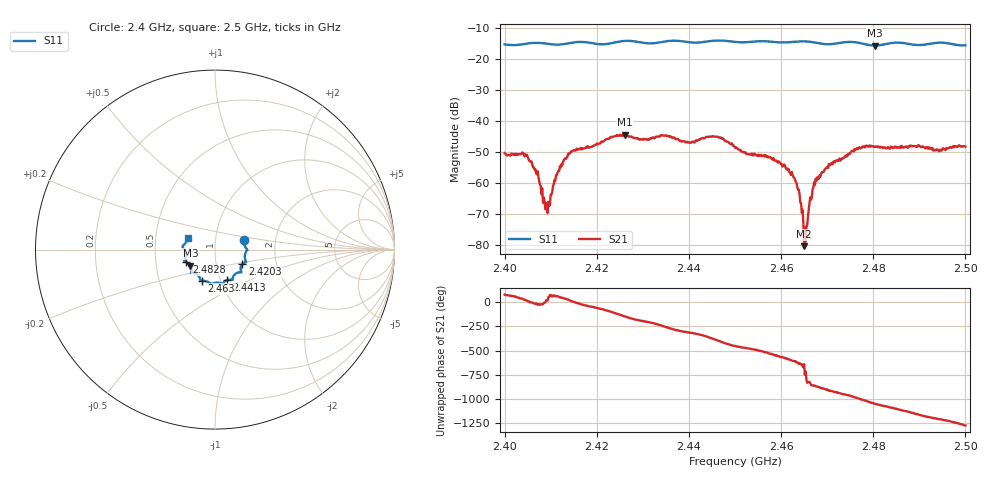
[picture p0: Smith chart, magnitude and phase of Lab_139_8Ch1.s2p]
# Hz S RI R 50
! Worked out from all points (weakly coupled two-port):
!   601 points, 2.4 GHz to 2.5 GHz, reference 50 ohm
!   highest |S21| = -44.48 dB at 2.4262 GHz (marker M1); lowest = -80.4 dB at 2.465 GHz (marker M2)
!   lowest |S11| = -15.7 dB at 2.4803 GHz (marker M3), VSWR 1.39, Z = 37.4 - j6.82 ohm
!   |S11| at or under -10 dB: start of sweep to end of sweep
!   S12 and S22 are empty: the file has one direction only
!   S11 on the Smith chart (normalised r, x): 2.4 GHz: 1.38, +0.15; 2.4203 GHz: 1.34, -0.22; 2.4413 GHz: 1.08, -0.38; 2.463 GHz: 0.82, -0.29; 2.4828 GHz: 0.72, -0.10; 2.5 GHz: 0.73, +0.10
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2.4e9  0.1626 0.0524  0.000412 0.00299  0 0  0 0
2.405e9  0.1762 0.00398  0.00256 0.000641  0 0  0 0
2.409333e9  0.1741 -0.00965  0.000305 0.000116  0 0  0 0
2.4125e9  0.1656 -0.0426  0.00123 0.00144  0 0  0 0
2.416667e9  0.1737 -0.0694  0.00319 -0.00127  0 0  0 0
2.420333e9  0.1529 -0.0799  0.00212 -0.00369  0 0  0 0
2.426167e9  0.1483 -0.126  -0.00495 -0.00334  0 0  0 0
2.433333e9  0.1006 -0.1515  -0.00356 0.00429  0 0  0 0
2.441333e9  0.067 -0.1693  0.0037 0.00272  0 0  0 0
2.445833e9  0.0423 -0.1922  0.00486 -0.0027  0 0  0 0
2.45e9  0.0248 -0.1855  -0.000165 -0.00369  0 0  0 0
2.459333e9  -0.0401 -0.1793  -0.00202 0.000637  0 0  0 0
2.463e9  -0.0722 -0.1737  -0.000324 0.00109  0 0  0 0
2.464167e9  -0.0776 -0.1744  3.94e-05 0.000486  0 0  0 0
2.465e9  -0.0795 -0.1735  1.89e-05 9.35e-05  0 0  0 0
2.4655e9  -0.08 -0.1725  1.95e-05 -0.000197  0 0  0 0
2.466667e9  -0.0814 -0.1673  -0.000458 -0.000345  0 0  0 0
2.470833e9  -0.1064 -0.1353  -0.00193 0.000729  0 0  0 0
2.480333e9  -0.1373 -0.0888  0.00333 0.00176  0 0  0 0
2.482833e9  -0.1588 -0.0701  0.00358 9.9e-05  0 0  0 0
2.483333e9  -0.1627 -0.0683  0.00358 -0.00047  0 0  0 0
2.5e9  -0.1515 0.0643  -0.00363 0.00123  0 0  0 0
